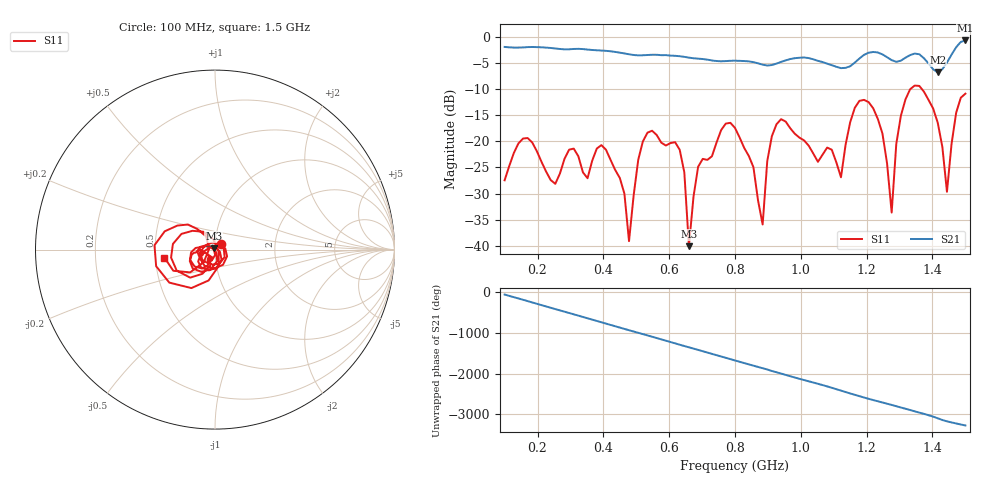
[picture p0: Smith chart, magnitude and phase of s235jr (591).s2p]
! NanoVNA-App
! Date: 2025-09-25 15:08:46
! Start: 100MHz Stop: 1,5GHz Points: 101
! S-Parameter data: F S11 S21 S12 S22
# Hz S RI R 50
!  Frequency  S11_Real  S11_Imag  S21_Real  S21_Imag  S12_Real  S12_Imag  S22_Real  S22_Imag
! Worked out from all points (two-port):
!   101 points, 100 MHz to 1.5 GHz, reference 50 ohm
!   highest |S21| = -0.73 dB at 1.5 GHz (marker M1); lowest = -6.8 dB at 1.416 GHz (marker M2)
!   |S21| within 3 dB of the highest: start of sweep to 628.8 MHz; 1.187 GHz to 1.257 GHz (69.69 MHz wide, 5.7 % of centre) (the widest 2 of 4)
!   lowest |S11| = -40.1 dB at 660 MHz (marker M3), VSWR 1.02, Z = 49.3 + j0.649 ohm
!   |S11| at or under -10 dB: start of sweep to 1.333 GHz; 1.367 GHz to end of sweep
!   S12 and S22 are empty: the file has one direction only
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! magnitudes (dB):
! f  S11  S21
! 100 MHz  -27.5  -2.0
! 170 MHz  -19.4  -2.0
! 338 MHz  -25.9  -2.4
! 408 MHz  -21.6  -2.7
! 478 MHz  -39.1  -3.4
! 520 MHz  -20.0  -3.6
! 576 MHz  -20.3  -3.5
! 632 MHz  -21.6  -3.7
! 660 MHz  -40.1  -4.0
! 688 MHz  -24.9  -4.2
! 800 MHz  -17.5  -4.6
! 884 MHz  -35.9  -5.4
! 926 MHz  -16.8  -5.2
! 1.038 GHz  -22.4  -4.3
! 1.122 GHz  -26.9  -6.0
! 1.206 GHz  -12.5  -3.1
! 1.276 GHz  -33.6  -4.5
! 1.29 GHz  -20.5  -4.8
! 1.332 GHz  -10.1  -3.5
! 1.416 GHz  -16.5  -6.8
! 1.444 GHz  -29.7  -5.0
! 1.5 GHz  -10.9  -0.7
